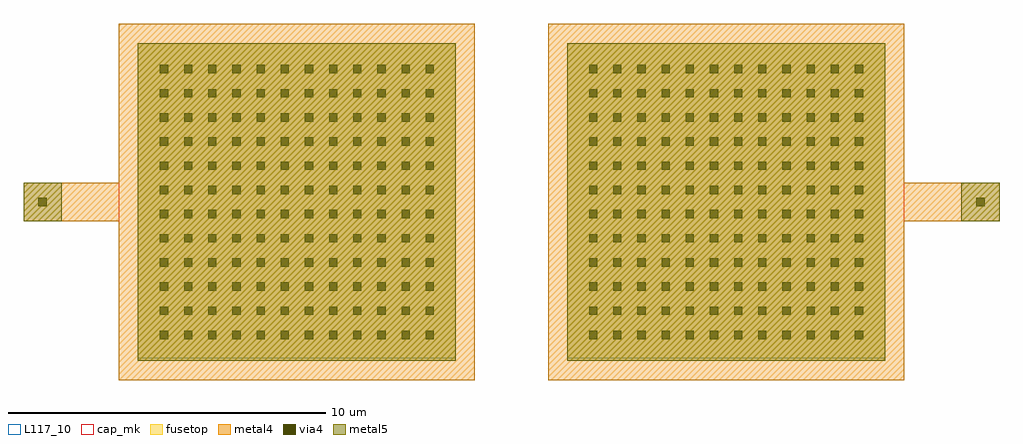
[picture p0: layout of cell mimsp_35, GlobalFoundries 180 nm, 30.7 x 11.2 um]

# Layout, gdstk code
import gdstk
lib = gdstk.Library(unit=1e-6, precision=1e-09)
def R(c, l, rs):  # rectangles x0, y0, x1, y1
    for r in rs: c.add(gdstk.rectangle(r[:2], r[2:], *l))
def A(c, l, x, y, w, h, nx, ny, dx, dy):  # array of equal rectangles
    R(c, l, [(x+i*dx, y+j*dy, x+i*dx+w, y+j*dy+h) for i in range(nx) for j in range(ny)])
via4 = (41, 0)
metal4 = (46, 0)
fusetop = (75, 0)
metal5 = (81, 0)
cap_mk = (117, 5)
L117_10 = (117, 10)

cap_mim = lib.new_cell('cap_mim')
A(cap_mim, via4, 0.69, 0.69, 0.26, 0.26, 12, 12, 0.76, 0.76)
R(cap_mim, metal4, [(-0.6,-0.6,10.6,10.6)])
R(cap_mim, fusetop, [(0,0,10,10)])
R(cap_mim, metal5, [(0,0,10,10)])
R(cap_mim, cap_mk, [(-0.6,-0.6,10.6,10.6)])
R(cap_mim, L117_10, [(0,0,10,0.1)])

mimsp_35 = lib.new_cell('mimsp_35')
R(mimsp_35, via4, [(-3.13,4.87,-2.87,5.13), (26.37,4.87,26.63,5.13)])
R(mimsp_35, metal4, [(-3.6,4.4,-0.6,5.6), (24.1,4.4,27.1,5.6)])
R(mimsp_35, metal5, [(-3.6,4.4,-2.4,5.6), (25.9,4.4,27.1,5.6)])
mimsp_35.add(gdstk.Reference(cap_mim, (0,0)))
mimsp_35.add(gdstk.Reference(cap_mim, (13.5,0)))

lib.write_gds('mimsp_35.gds')
